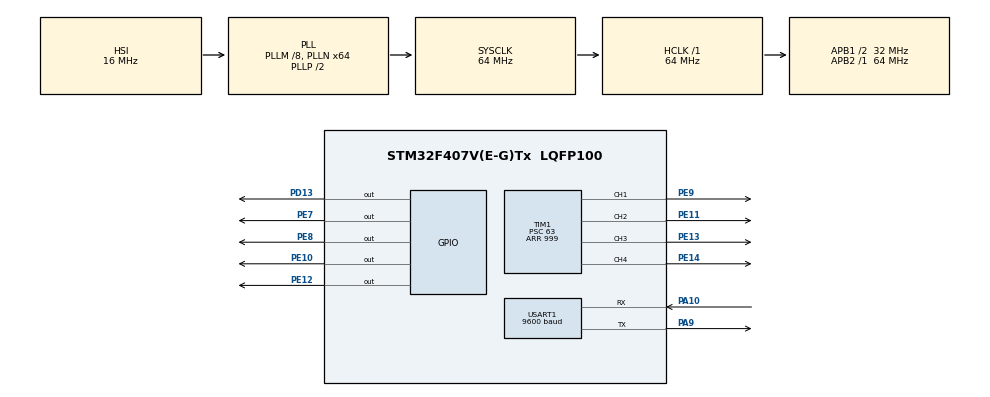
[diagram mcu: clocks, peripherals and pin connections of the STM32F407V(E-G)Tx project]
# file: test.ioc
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Mcu.Family=STM32F4
Mcu.Name=STM32F407V(E-G)Tx
Mcu.Package=LQFP100
NVIC.PriorityGroup=NVIC_PRIORITYGROUP_4
NVIC.USART1_IRQn=true\:0\:0\:false\:false\:true\:true\:true\:true
PA10.Mode=Asynchronous
PA10.Signal=USART1_RX
PA13.Mode=Serial_Wire
PA13.Signal=SYS_JTMS-SWDIO
PA14.Mode=Serial_Wire
PA14.Signal=SYS_JTCK-SWCLK
PA9.Mode=Asynchronous
PA9.Signal=USART1_TX
PD13.Signal=GPIO_Output
PE10.Signal=GPIO_Output
PE11.Signal=S_TIM1_CH2
PE12.Signal=GPIO_Output
PE13.Signal=S_TIM1_CH3
PE14.Signal=S_TIM1_CH4
PE7.Signal=GPIO_Output
PE8.Signal=GPIO_Output
PE9.Signal=S_TIM1_CH1
ProjectManager.HeapSize=0x200
ProjectManager.StackSize=0x400
ProjectManager.TargetToolchain=MDK-ARM V5.32
RCC.48MHZClocksFreq_Value=32000000
RCC.AHBFreq_Value=64000000
RCC.APB1CLKDivider=RCC_HCLK_DIV2
RCC.APB1Freq_Value=32000000
RCC.APB1TimFreq_Value=64000000
RCC.APB2Freq_Value=64000000
RCC.APB2TimFreq_Value=64000000
RCC.CortexFreq_Value=64000000
RCC.HCLKFreq_Value=64000000
RCC.HSE_VALUE=25000000
RCC.HSI_VALUE=16000000
RCC.LSE_VALUE=32768
RCC.PLLM=8
RCC.PLLN=64
RCC.SYSCLKFreq_VALUE=64000000
RCC.SYSCLKSource=RCC_SYSCLKSOURCE_PLLCLK
RCC.VCOOutputFreq_Value=128000000
SH.S_TIM1_CH1.0=TIM1_CH1,PWM Generation1 CH1
SH.S_TIM1_CH2.0=TIM1_CH2,PWM Generation2 CH2
SH.S_TIM1_CH3.0=TIM1_CH3,PWM Generation3 CH3
SH.S_TIM1_CH4.0=TIM1_CH4,PWM Generation4 CH4
TIM1.Channel-PWM\ Generation1\ CH1=TIM_CHANNEL_1
TIM1.Channel-PWM\ Generation2\ CH2=TIM_CHANNEL_2
TIM1.Channel-PWM\ Generation3\ CH3=TIM_CHANNEL_3
TIM1.Channel-PWM\ Generation4\ CH4=TIM_CHANNEL_4
TIM1.Period=999
TIM1.Prescaler=63
USART1.BaudRate=9600
USART1.VirtualMode=VM_ASYNC
VP_TIM1_VS_ClockSourceINT.Mode=Internal
board=custom

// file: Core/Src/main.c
/* USER CODE BEGIN Header */
/**
  ******************************************************************************
  * @file           : main.c
  * @brief          : Main program body
  ******************************************************************************
  * @attention
  *
  * Copyright (c) 2023 STMicroelectronics.
  * All rights reserved.
  *
  * This software is licensed under terms that can be found in the LICENSE file
  * in the root directory of this software component.
  * If no LICENSE file comes with this software, it is provided AS-IS.
  *
  ******************************************************************************
  */
/* USER CODE END Header */
#include "main.h"

/* USER CODE BEGIN Includes */
#include "pwm.h"
#include "Motor.h"
#include "car.h"
#include "bluetooth.h"
/* USER CODE END Includes */

TIM_HandleTypeDef htim1;

UART_HandleTypeDef huart1;

void SystemClock_Config(void);
static void MX_GPIO_Init(void);
static void MX_USART1_UART_Init(void);
static void MX_TIM1_Init(void);

/* USER CODE BEGIN 0 */

uint8_t car_speed = 100;
uint8_t uart_flag;
uint8_t data_rx_1;
void HAL_UART_RxCpltCallback(UART_HandleTypeDef *huart)
{
	if(huart->Instance == huart1.Instance)
	{
		uart_flag = 1;
	}
	HAL_UART_Receive_IT(&huart1, &data_rx_1, 1);
}
/* USER CODE END 0 */

int main(void)
{

  /* MCU Configuration--------------------------------------------------------*/

  /* Reset of all peripherals, Initializes the Flash interface and the Systick. */
  HAL_Init();

  /* Configure the system clock */
  SystemClock_Config();

  /* Initialize all configured peripherals */
  MX_GPIO_Init();
  MX_USART1_UART_Init();
  MX_TIM1_Init();
  /* USER CODE BEGIN 2 */
	HAL_UART_Receive_IT(&huart1, &data_rx_1, 1);
	uint32_t time = HAL_GetTick();
	HAL_GPIO_WritePin(GPIOD, GPIO_PIN_13, 0);
	car_init(&htim1);

  /* USER CODE END 2 */

  /* Infinite loop */
  while (1)
  {

    /* USER CODE BEGIN 3 */
		bluetooth_handle(&uart_flag, &data_rx_1, &car_speed);
		if(HAL_GetTick() - time >= 500)
		{
			HAL_GPIO_TogglePin(GPIOD, GPIO_PIN_13);
			time = HAL_GetTick();
		}

  }
  /* USER CODE END 3 */
}

void SystemClock_Config(void)
{
  RCC_OscInitTypeDef RCC_OscInitStruct = {0};
  RCC_ClkInitTypeDef RCC_ClkInitStruct = {0};

  /** Configure the main internal regulator output voltage
  */
  __HAL_RCC_PWR_CLK_ENABLE();
  __HAL_PWR_VOLTAGESCALING_CONFIG(PWR_REGULATOR_VOLTAGE_SCALE1);

  /** Initializes the RCC Oscillators according to the specified parameters
  * in the RCC_OscInitTypeDef structure.
  */
  RCC_OscInitStruct.OscillatorType = RCC_OSCILLATORTYPE_HSI;
  RCC_OscInitStruct.HSIState = RCC_HSI_ON;
  RCC_OscInitStruct.HSICalibrationValue = RCC_HSICALIBRATION_DEFAULT;
  RCC_OscInitStruct.PLL.PLLState = RCC_PLL_ON;
  RCC_OscInitStruct.PLL.PLLSource = RCC_PLLSOURCE_HSI;
  RCC_OscInitStruct.PLL.PLLM = 8;
  RCC_OscInitStruct.PLL.PLLN = 64;
  RCC_OscInitStruct.PLL.PLLP = RCC_PLLP_DIV2;
  RCC_OscInitStruct.PLL.PLLQ = 4;
  if (HAL_RCC_OscConfig(&RCC_OscInitStruct) != HAL_OK)
  {
    Error_Handler();
  }

  /** Initializes the CPU, AHB and APB buses clocks
  */
  RCC_ClkInitStruct.ClockType = RCC_CLOCKTYPE_HCLK|RCC_CLOCKTYPE_SYSCLK
                              |RCC_CLOCKTYPE_PCLK1|RCC_CLOCKTYPE_PCLK2;
  RCC_ClkInitStruct.SYSCLKSource = RCC_SYSCLKSOURCE_PLLCLK;
  RCC_ClkInitStruct.AHBCLKDivider = RCC_SYSCLK_DIV1;
  RCC_ClkInitStruct.APB1CLKDivider = RCC_HCLK_DIV2;
  RCC_ClkInitStruct.APB2CLKDivider = RCC_HCLK_DIV1;

  if (HAL_RCC_ClockConfig(&RCC_ClkInitStruct, FLASH_LATENCY_2) != HAL_OK)
  {
    Error_Handler();
  }
}

static void MX_TIM1_Init(void)
{

  TIM_ClockConfigTypeDef sClockSourceConfig = {0};
  TIM_MasterConfigTypeDef sMasterConfig = {0};
  TIM_OC_InitTypeDef sConfigOC = {0};
  TIM_BreakDeadTimeConfigTypeDef sBreakDeadTimeConfig = {0};

  htim1.Instance = TIM1;
  htim1.Init.Prescaler = 63;
  htim1.Init.CounterMode = TIM_COUNTERMODE_UP;
  htim1.Init.Period = 999;
  htim1.Init.ClockDivision = TIM_CLOCKDIVISION_DIV1;
  htim1.Init.RepetitionCounter = 0;
  htim1.Init.AutoReloadPreload = TIM_AUTORELOAD_PRELOAD_DISABLE;
  if (HAL_TIM_Base_Init(&htim1) != HAL_OK)
  {
    Error_Handler();
  }
  sClockSourceConfig.ClockSource = TIM_CLOCKSOURCE_INTERNAL;
  if (HAL_TIM_ConfigClockSource(&htim1, &sClockSourceConfig) != HAL_OK)
  {
    Error_Handler();
  }
  if (HAL_TIM_PWM_Init(&htim1) != HAL_OK)
  {
    Error_Handler();
  }
  sMasterConfig.MasterOutputTrigger = TIM_TRGO_RESET;
  sMasterConfig.MasterSlaveMode = TIM_MASTERSLAVEMODE_DISABLE;
  if (HAL_TIMEx_MasterConfigSynchronization(&htim1, &sMasterConfig) != HAL_OK)
  {
    Error_Handler();
  }
  sConfigOC.OCMode = TIM_OCMODE_PWM1;
  sConfigOC.Pulse = 0;
  sConfigOC.OCPolarity = TIM_OCPOLARITY_HIGH;
  sConfigOC.OCNPolarity = TIM_OCNPOLARITY_HIGH;
  sConfigOC.OCFastMode = TIM_OCFAST_DISABLE;
  sConfigOC.OCIdleState = TIM_OCIDLESTATE_RESET;
  sConfigOC.OCNIdleState = TIM_OCNIDLESTATE_RESET;
  if (HAL_TIM_PWM_ConfigChannel(&htim1, &sConfigOC, TIM_CHANNEL_1) != HAL_OK)
  {
    Error_Handler();
  }
  if (HAL_TIM_PWM_ConfigChannel(&htim1, &sConfigOC, TIM_CHANNEL_2) != HAL_OK)
  {
    Error_Handler();
  }
  if (HAL_TIM_PWM_ConfigChannel(&htim1, &sConfigOC, TIM_CHANNEL_3) != HAL_OK)
  {
    Error_Handler();
  }
  if (HAL_TIM_PWM_ConfigChannel(&htim1, &sConfigOC, TIM_CHANNEL_4) != HAL_OK)
  {
    Error_Handler();
  }
  sBreakDeadTimeConfig.OffStateRunMode = TIM_OSSR_DISABLE;
  sBreakDeadTimeConfig.OffStateIDLEMode = TIM_OSSI_DISABLE;
  sBreakDeadTimeConfig.LockLevel = TIM_LOCKLEVEL_OFF;
  sBreakDeadTimeConfig.DeadTime = 0;
  sBreakDeadTimeConfig.BreakState = TIM_BREAK_DISABLE;
  sBreakDeadTimeConfig.BreakPolarity = TIM_BREAKPOLARITY_HIGH;
  sBreakDeadTimeConfig.AutomaticOutput = TIM_AUTOMATICOUTPUT_DISABLE;
  if (HAL_TIMEx_ConfigBreakDeadTime(&htim1, &sBreakDeadTimeConfig) != HAL_OK)
  {
    Error_Handler();
  }
  HAL_TIM_MspPostInit(&htim1);

}

static void MX_USART1_UART_Init(void)
{

  huart1.Instance = USART1;
  huart1.Init.BaudRate = 9600;
  huart1.Init.WordLength = UART_WORDLENGTH_8B;
  huart1.Init.StopBits = UART_STOPBITS_1;
  huart1.Init.Parity = UART_PARITY_NONE;
  huart1.Init.Mode = UART_MODE_TX_RX;
  huart1.Init.HwFlowCtl = UART_HWCONTROL_NONE;
  huart1.Init.OverSampling = UART_OVERSAMPLING_16;
  if (HAL_UART_Init(&huart1) != HAL_OK)
  {
    Error_Handler();
  }

}

static void MX_GPIO_Init(void)
{
  GPIO_InitTypeDef GPIO_InitStruct = {0};

  /* GPIO Ports Clock Enable */
  __HAL_RCC_GPIOE_CLK_ENABLE();
  __HAL_RCC_GPIOD_CLK_ENABLE();
  __HAL_RCC_GPIOA_CLK_ENABLE();

  /*Configure GPIO pin Output Level */
  HAL_GPIO_WritePin(GPIOE, GPIO_PIN_7|GPIO_PIN_8|GPIO_PIN_10|GPIO_PIN_12, GPIO_PIN_RESET);

  /*Configure GPIO pin Output Level */
  HAL_GPIO_WritePin(GPIOD, GPIO_PIN_13, GPIO_PIN_RESET);

  /*Configure GPIO pins : PE7 PE8 PE10 PE12 */
  GPIO_InitStruct.Pin = GPIO_PIN_7|GPIO_PIN_8|GPIO_PIN_10|GPIO_PIN_12;
  GPIO_InitStruct.Mode = GPIO_MODE_OUTPUT_PP;
  GPIO_InitStruct.Pull = GPIO_NOPULL;
  GPIO_InitStruct.Speed = GPIO_SPEED_FREQ_LOW;
  HAL_GPIO_Init(GPIOE, &GPIO_InitStruct);

  /*Configure GPIO pin : PD13 */
  GPIO_InitStruct.Pin = GPIO_PIN_13;
  GPIO_InitStruct.Mode = GPIO_MODE_OUTPUT_PP;
  GPIO_InitStruct.Pull = GPIO_NOPULL;
  GPIO_InitStruct.Speed = GPIO_SPEED_FREQ_LOW;
  HAL_GPIO_Init(GPIOD, &GPIO_InitStruct);

}

void Error_Handler(void)
{
  __disable_irq();
  while (1)
  {
  }
}
